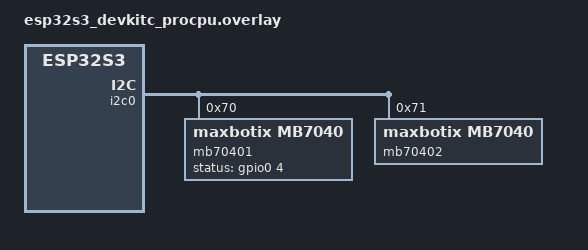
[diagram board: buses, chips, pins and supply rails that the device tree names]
&i2c0 {
    status = "okay";
    mb70401: mb7040@70 {
        compatible = "maxbotix,mb7040";
        status = "okay";
        reg = <0x70>;
        status-gpios = <&gpio0 4 GPIO_ACTIVE_HIGH>;
    };
    mb70402: mb7040@71 {
        compatible = "maxbotix,mb7040";
        status = "okay";
        reg = <0x71>;
    };
};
